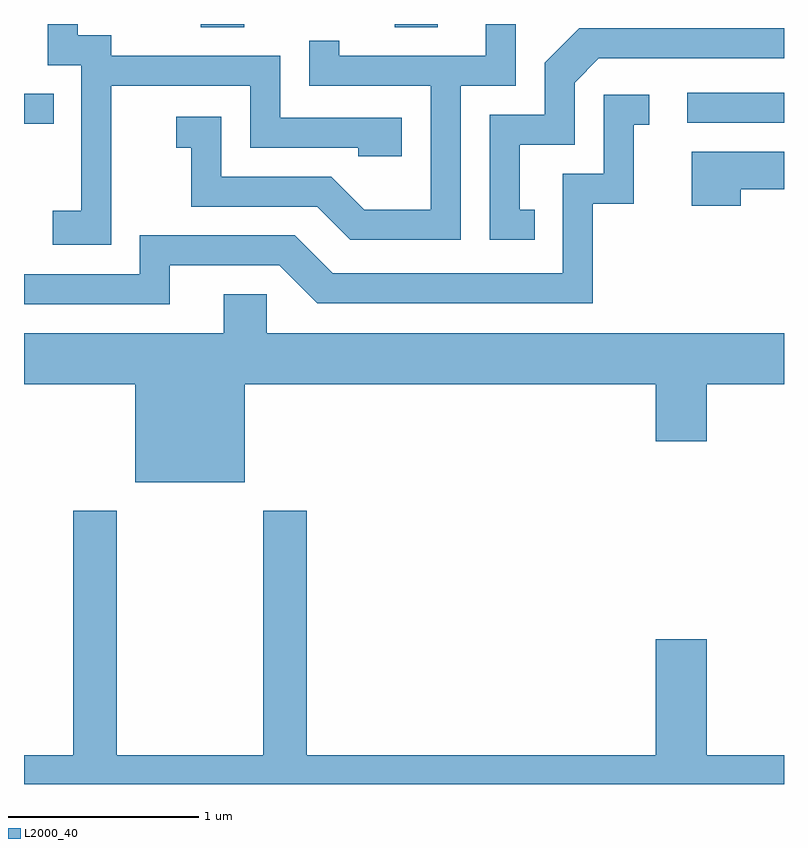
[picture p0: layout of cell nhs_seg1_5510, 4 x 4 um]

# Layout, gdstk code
import gdstk
lib = gdstk.Library(unit=1e-6, precision=1e-09)
def R(c, l, rs):  # rectangles x0, y0, x1, y1
    for r in rs: c.add(gdstk.rectangle(r[:2], r[2:], *l))
def P(c, l, *ps):  # polygons
    for p in ps: c.add(gdstk.Polygon(p, *l))
L2000_40 = (2000, 40)

nhs_seg1_5510 = lib.new_cell('nhs_seg1_5510')
R(nhs_seg1_5510, L2000_40, [(351.611,883.186,351.768,883.344), (355.103,883.191,355.611,883.349), (352.541,883.696,352.769,883.712), (353.561,883.696,353.789,883.712)])
P(nhs_seg1_5510, L2000_40, [(353.909,883.386),(354.199,883.386),(354.199,883.712),(354.041,883.712),(354.041,883.544),(353.269,883.544),(353.269,883.623),(353.111,883.623),(353.111,883.386),(353.751,883.386),(353.751,882.734),(353.402,882.734),(353.227,882.909),(352.649,882.909),(352.649,883.224),(352.413,883.224),(352.413,883.061),(352.491,883.061),(352.491,882.751),(353.154,882.751),(353.329,882.576),(353.909,882.576)],
  [(352.069,883.386),(352.801,883.386),(352.801,883.061),(353.371,883.061),(353.371,883.016),(353.599,883.016),(353.599,883.219),(352.959,883.219),(352.959,883.544),(352.069,883.544),(352.069,883.654),(351.894,883.654),(351.894,883.712),(351.736,883.712),(351.736,883.496),(351.911,883.496),(351.911,882.729),(351.761,882.729),(351.761,882.551),(352.069,882.551)],
  [(354.298,882.734),(354.219,882.734),(354.219,883.076),(354.509,883.076),(354.509,883.404),(354.637,883.531),(355.611,883.531),(355.611,883.689),(354.534,883.689),(354.351,883.507),(354.351,883.234),(354.061,883.234),(354.061,882.576),(354.298,882.576)],
  [(352.379,882.441),(352.954,882.441),(353.154,882.241),(354.604,882.241),(354.604,882.766),(354.819,882.766),(354.819,883.181),(354.903,883.181),(354.903,883.339),(354.661,883.339),(354.661,882.924),(354.446,882.924),(354.446,882.399),(353.237,882.399),(353.037,882.599),(352.221,882.599),(352.221,882.394),(351.611,882.394),(351.611,882.236),(352.379,882.236)],
  [(355.384,882.841),(355.611,882.841),(355.611,883.039),(355.126,883.039),(355.126,882.756),(355.384,882.756)],
  [(352.661,882.289),(352.661,882.084),(351.611,882.084),(351.611,881.816),(352.196,881.816),(352.196,881.301),(352.774,881.301),(352.774,881.816),(354.936,881.816),(354.936,881.516),(355.204,881.516),(355.204,881.816),(355.611,881.816),(355.611,882.084),(352.889,882.084),(352.889,882.289)],
  [(355.611,879.864),(355.204,879.864),(355.204,880.474),(354.936,880.474),(354.936,879.864),(353.099,879.864),(353.099,881.149),(352.871,881.149),(352.871,879.864),(352.099,879.864),(352.099,881.149),(351.871,881.149),(351.871,879.864),(351.611,879.864),(351.611,879.712),(355.611,879.712)])

lib.write_gds('nhs_seg1_5510.gds')
